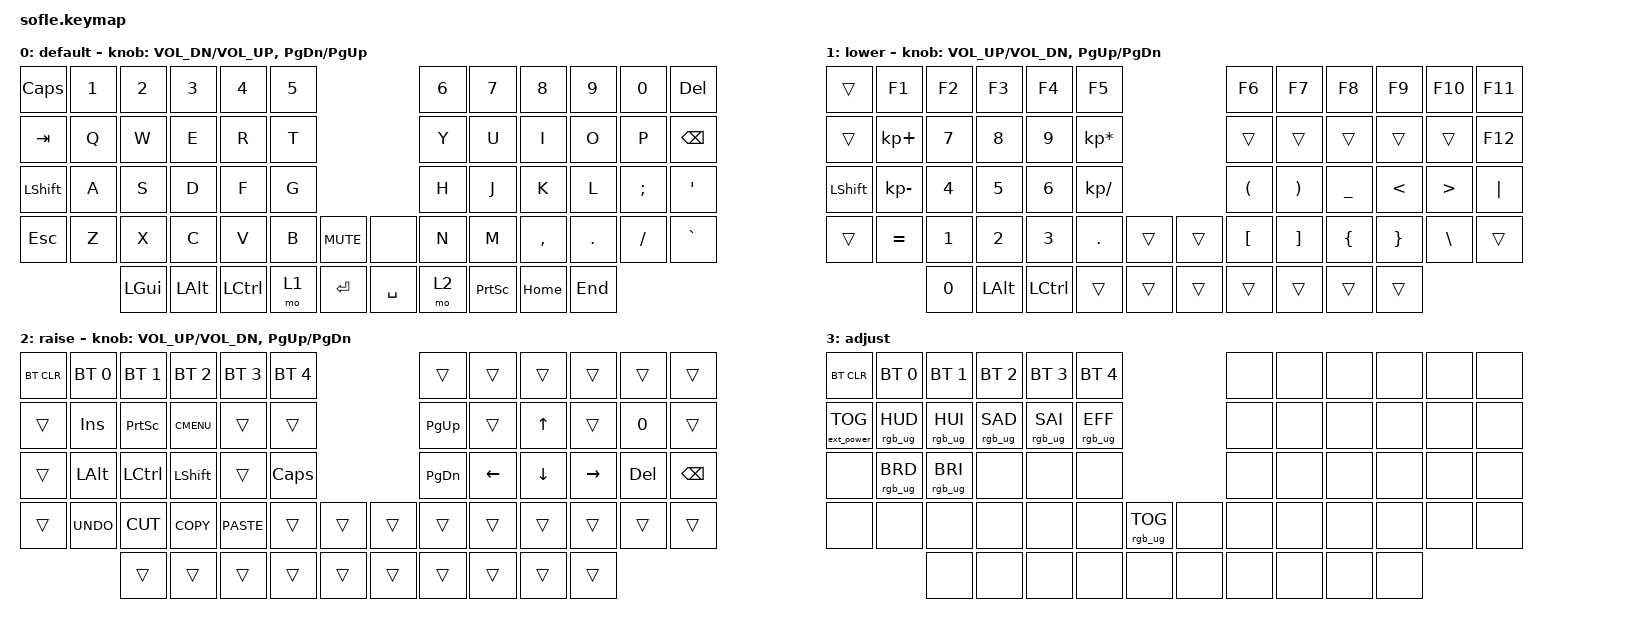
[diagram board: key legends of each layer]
/*
 * Copyright (c) 2020 The ZMK Contributors
 *
 * SPDX-License-Identifier: MIT
 */

#include <behaviors.dtsi>
#include <dt-bindings/zmk/bt.h>
#include <dt-bindings/zmk/ext_power.h>
#include <dt-bindings/zmk/keys.h>
#include <dt-bindings/zmk/rgb.h>

#define BASE 0
#define LOWER 1
#define RAISE 2
#define ADJUST 3

/ {
    // Activate ADJUST layer by pressing raise and lower

    conditional_layers {
        compatible = "zmk,conditional-layers";

        adjust_layer {
            if-layers = <1 2>;
            then-layer = <3>;
        };
    };

    keymap {
        compatible = "zmk,keymap";

        default_layer {
            label = "default";

            // ------------------------------------------------------------------------------------------------------------
            // |   `   |  1  |  2  |  3   |  4   |  5   |                   |  6   |  7    |  8    |  9   |   0   |       |
            // |  ESC  |  Q  |  W  |  E   |  R   |  T   |                   |  Y   |  U    |  I    |  O   |   P   | BKSPC |
            // |  TAB  |  A  |  S  |  D   |  F   |  G   |                   |  H   |  J    |  K    |  L   |   ;   |   '   |
            // | SHIFT |  Z  |  X  |  C   |  V   |  B   |  MUTE  |  |       |  N   |  M    |  ,    |  .   |   /   | SHIFT |
            //               | GUI | ALT  | CTRL | LOWER|  ENTER |  | SPACE | RAISE| CTRL  | ALT   | GUI  |

            bindings = <
&kp CAPS        &kp N1  &kp N2    &kp N3    &kp N4     &kp N5                           &kp N6  &kp N7           &kp N8     &kp N9   &kp N0    &kp DELETE
&kp TAB         &kp Q   &kp W     &kp E     &kp R      &kp T                            &kp Y   &kp U            &kp I      &kp O    &kp P     &kp BSPC
&kp LEFT_SHIFT  &kp A   &kp S     &kp D     &kp F      &kp G                            &kp H   &kp J            &kp K      &kp L    &kp SEMI  &kp SQT
&kp ESC         &kp Z   &kp X     &kp C     &kp V      &kp B   &kp C_MUTE    &none      &kp N   &kp M            &kp COMMA  &kp DOT  &kp FSLH  &kp GRAVE
                        &kp LGUI  &kp LALT  &kp LCTRL  &mo 1   &kp RET       &kp SPACE  &mo 2   &kp PRINTSCREEN  &kp HOME   &kp END
            >;

            sensor-bindings =
                <&inc_dec_kp C_VOL_DN C_VOL_UP>,
                <&inc_dec_kp PG_DN PG_UP>;
        };

        lower_layer {
            label = "lower";

            // TODO: Some binds are waiting for shifted keycode support.
            // ------------------------------------------------------------------------------------------------------------
            // |       |  F1 |  F2 |  F3  |  F4  |  F5  |                   |  F6  |  F7   |  F8   |  F9  |  F10  |  F11  |
            // |   `   |  1  |  2  |  3   |  4   |  5   |                   |  6   |  7    |  8    |  9   |   0   |  F12  |
            // |       |  !  |  @  |  #   |  $   |  %   |                   |  ^   |  &    |  *    |  (   |   )   |   |   |
            // |       |  =  |  -  |  +   |  {   |  }   |        |  |       |  [   |  ]    |  ;    |  :   |   \   |       |
            //               |     |      |      |      |        |  |       |      |       |       |      |

            bindings = <
&trans          &kp F1        &kp F2  &kp F3        &kp F4     &kp F5                             &kp F6                &kp F7                 &kp F8          &kp F9           &kp F10           &kp F11
&trans          &kp KP_PLUS   &kp N7  &kp N8        &kp N9     &kp KP_MULTIPLY                    &trans                &trans                 &trans          &trans           &trans            &kp F12
&kp LEFT_SHIFT  &kp KP_MINUS  &kp N4  &kp N5        &kp N6     &kp KP_DIVIDE                      &kp LEFT_PARENTHESIS  &kp RIGHT_PARENTHESIS  &kp UNDER       &kp LESS_THAN    &kp GREATER_THAN  &kp PIPE
&trans          &kp EQUAL     &kp N1  &kp N2        &kp N3     &kp DOT          &trans    &trans  &kp LBKT              &kp RBKT               &kp LEFT_BRACE  &kp RIGHT_BRACE  &kp BSLH          &trans
                              &kp N0  &kp LEFT_ALT  &kp LCTRL  &trans           &trans    &trans  &trans                &trans                 &trans          &trans
            >;

            sensor-bindings = <&inc_dec_kp C_VOL_UP C_VOL_DN &inc_dec_kp PG_UP PG_DN>;
        };

        raise_layer {
            label = "raise";

            // ------------------------------------------------------------------------------------------------------------
            // | BTCLR | BT1  | BT2  |  BT3  |  BT4  |  BT5 |                |      |      |       |      |       |       |
            // |       | INS  | PSCR | GUI   |       |      |                | PGUP |      |   ^   |      |       |       |
            // |       | ALT  | CTRL | SHIFT |       | CAPS |                | PGDN |   <- |   v   |  ->  |  DEL  | BKSPC |
            // |       | UNDO | CUT  | COPY  | PASTE |      |      |  |      |      |      |       |      |       |       |
            //                |      |       |       |      |      |  |      |      |      |       |      |

            bindings = <
&bt BT_CLR  &bt BT_SEL 0  &bt BT_SEL 1  &bt BT_SEL 2  &bt BT_SEL 3  &bt BT_SEL 4                    &trans     &trans    &trans    &trans     &trans   &trans
&trans      &kp INS       &kp PSCRN     &kp K_CMENU   &trans        &trans                          &kp PG_UP  &trans    &kp UP    &trans     &kp N0   &trans
&trans      &kp LALT      &kp LCTRL     &kp LSHFT     &trans        &kp CLCK                        &kp PG_DN  &kp LEFT  &kp DOWN  &kp RIGHT  &kp DEL  &kp BSPC
&trans      &kp K_UNDO    &kp K_CUT     &kp K_COPY    &kp K_PASTE   &trans        &trans    &trans  &trans     &trans    &trans    &trans     &trans   &trans
                          &trans        &trans        &trans        &trans        &trans    &trans  &trans     &trans    &trans    &trans
            >;

            sensor-bindings = <&inc_dec_kp C_VOL_UP C_VOL_DN &inc_dec_kp PG_UP PG_DN>;
        };

        adjust_layer {
            // ----------------------------------------------------------------------------------------------------------------------------
            // | BTCLR  |  BT1    |  BT2    |   BT3   |   BT4   |   BT5   |                  |      |      |       |      |       |       |
            // | EXTPWR | RGB_HUD | RGB_HUI | RGB_SAD | RGB_SAI | RGB_EFF |                  |      |      |       |      |       |       |
            // |        | RGB_BRD | RGB_BRI |         |         |         |                  |      |      |       |      |       |       |
            // |        |         |         |         |         |         | RGB_TOG | |      |      |      |       |      |       |       |
            //                    |         |         |         |         |         | |      |      |      |       |      |

            label = "adjust";
            bindings = <
&bt BT_CLR         &bt BT_SEL 0     &bt BT_SEL 1     &bt BT_SEL 2     &bt BT_SEL 3     &bt BT_SEL 4                               &none  &none  &none  &none  &none  &none
&ext_power EP_TOG  &rgb_ug RGB_HUD  &rgb_ug RGB_HUI  &rgb_ug RGB_SAD  &rgb_ug RGB_SAI  &rgb_ug RGB_EFF                            &none  &none  &none  &none  &none  &none
&none              &rgb_ug RGB_BRD  &rgb_ug RGB_BRI  &none            &none            &none                                      &none  &none  &none  &none  &none  &none
&none              &none            &none            &none            &none            &none            &rgb_ug RGB_TOG    &none  &none  &none  &none  &none  &none  &none
                                    &none            &none            &none            &none            &none              &none  &none  &none  &none  &none
            >;
        };
    };
};
